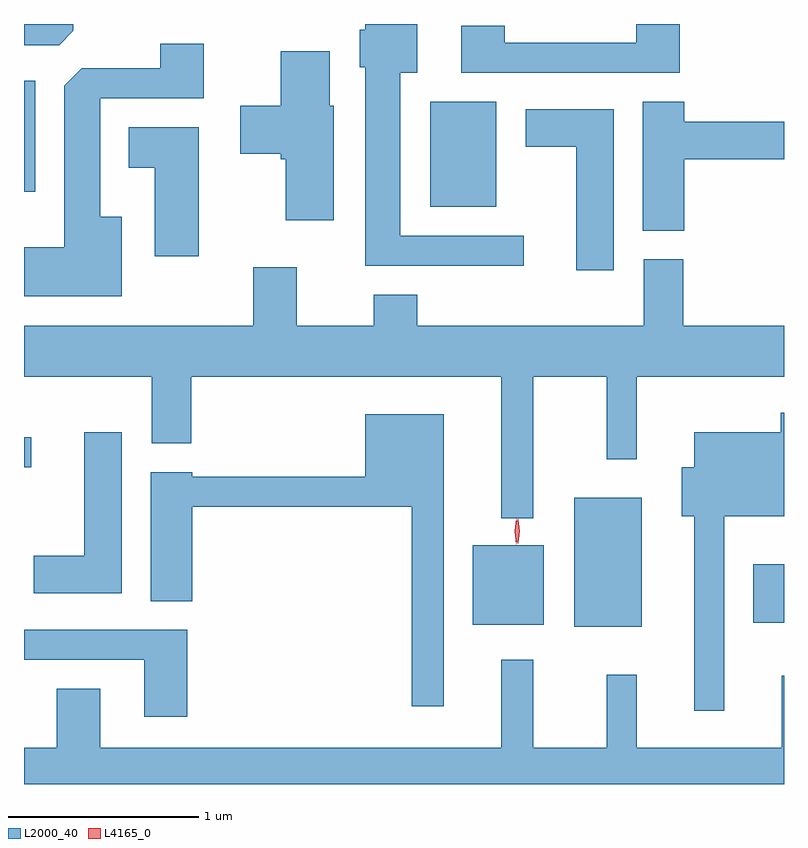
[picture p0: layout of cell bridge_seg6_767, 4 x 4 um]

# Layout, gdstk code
import gdstk
lib = gdstk.Library(unit=1e-6, precision=1e-09)
def R(c, l, rs):  # rectangles x0, y0, x1, y1
    for r in rs: c.add(gdstk.rectangle(r[:2], r[2:], *l))
def P(c, l, *ps):  # polygons
    for p in ps: c.add(gdstk.Polygon(p, *l))
L2000_40 = (2000, 40)
L4165_0 = (4165, 0)

bridge_seg6_767 = lib.new_cell('bridge_seg6_767')
R(bridge_seg6_767, L2000_40, [(559.016,1557.601,559.369,1558.279), (558.481,1557.611,558.854,1558.029), (559.956,1557.621,560.119,1557.929), (556.119,1558.441,556.158,1558.599), (558.256,1559.811,558.604,1560.364), (556.119,1559.891,556.179,1560.474)])
P(bridge_seg6_767, L2000_40, [(559.569,1560.773),(559.341,1560.773),(559.341,1560.674),(558.649,1560.674),(558.649,1560.764),(558.421,1560.764),(558.421,1560.516),(559.569,1560.516)],
  [(558.748,1559.659),(558.099,1559.659),(558.099,1560.516),(558.189,1560.516),(558.189,1560.773),(557.916,1560.773),(557.916,1560.744),(557.886,1560.744),(557.886,1560.546),(557.916,1560.546),(557.916,1559.501),(558.748,1559.501)],
  [(556.379,1560.737),(556.379,1560.773),(556.119,1560.773),(556.119,1560.661),(556.304,1560.661)],
  [(556.634,1559.759),(556.519,1559.759),(556.519,1560.381),(557.064,1560.381),(557.064,1560.669),(556.836,1560.669),(556.836,1560.539),(556.422,1560.539),(556.331,1560.449),(556.331,1559.599),(556.119,1559.599),(556.119,1559.341),(556.634,1559.341)],
  [(557.749,1560.344),(557.729,1560.344),(557.729,1560.629),(557.471,1560.629),(557.471,1560.344),(557.256,1560.344),(557.256,1560.091),(557.471,1560.091),(557.471,1560.061),(557.496,1560.061),(557.496,1559.741),(557.749,1559.741)],
  [(559.594,1560.061),(560.119,1560.061),(560.119,1560.259),(559.594,1560.259),(559.594,1560.364),(559.376,1560.364),(559.376,1559.686),(559.594,1559.686)],
  [(559.224,1560.324),(558.761,1560.324),(558.761,1560.126),(559.026,1560.126),(559.026,1559.476),(559.224,1559.476)],
  [(557.039,1560.229),(556.671,1560.229),(556.671,1560.016),(556.806,1560.016),(556.806,1559.551),(557.039,1559.551)],
  [(558.799,1558.916),(559.186,1558.916),(559.186,1558.483),(559.344,1558.483),(559.344,1558.916),(560.119,1558.916),(560.119,1559.184),(559.589,1559.184),(559.589,1559.534),(559.381,1559.534),(559.381,1559.184),(558.189,1559.184),(558.189,1559.349),(557.961,1559.349),(557.961,1559.184),(557.554,1559.184),(557.554,1559.494),(557.326,1559.494),(557.326,1559.184),(556.119,1559.184),(556.119,1558.916),(556.791,1558.916),(556.791,1558.566),(556.999,1558.566),(556.999,1558.916),(558.631,1558.916),(558.631,1558.173),(558.799,1558.173)],
  [(559.804,1558.181),(560.119,1558.181),(560.119,1558.728),(560.101,1558.728),(560.101,1558.624),(559.646,1558.624),(559.646,1558.439),(559.581,1558.439),(559.581,1558.181),(559.646,1558.181),(559.646,1557.158),(559.804,1557.158)],
  [(558.329,1558.719),(557.916,1558.719),(557.916,1558.389),(557.004,1558.389),(557.004,1558.414),(556.786,1558.414),(556.786,1557.736),(557.004,1557.736),(557.004,1558.231),(558.161,1558.231),(558.161,1557.183),(558.329,1557.183)],
  [(556.634,1558.624),(556.436,1558.624),(556.436,1557.974),(556.171,1557.974),(556.171,1557.776),(556.634,1557.776)],
  [(556.979,1557.584),(556.119,1557.584),(556.119,1557.426),(556.751,1557.426),(556.751,1557.126),(556.979,1557.126)],
  [(556.291,1557.274),(556.291,1556.964),(556.119,1556.964),(556.119,1556.773),(560.119,1556.773),(560.119,1557.343),(560.106,1557.343),(560.106,1556.964),(559.344,1556.964),(559.344,1557.348),(559.186,1557.348),(559.186,1556.964),(558.799,1556.964),(558.799,1557.428),(558.631,1557.428),(558.631,1556.964),(556.519,1556.964),(556.519,1557.274)])
P(bridge_seg6_767, L4165_0, [(558.71,1558.034),(558.701,1558.102),(558.71,1558.17),(558.711,1558.17),(558.711,1558.17),(558.721,1558.102),(558.711,1558.034),(558.711,1558.034)],
  [(558.718,1558.038),(558.718,1558.039),(558.708,1558.103),(558.718,1558.167),(558.718,1558.167),(558.719,1558.167),(558.728,1558.103),(558.719,1558.039)])

lib.write_gds('bridge_seg6_767.gds')
